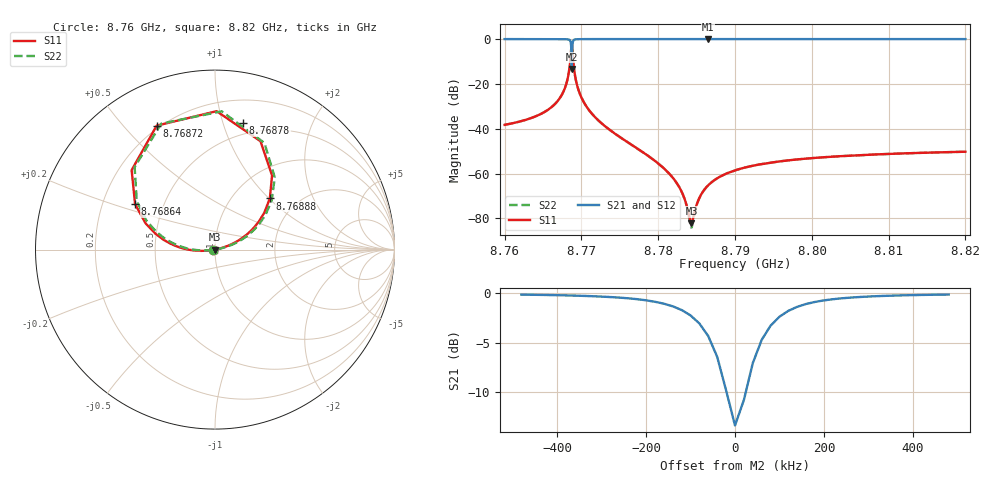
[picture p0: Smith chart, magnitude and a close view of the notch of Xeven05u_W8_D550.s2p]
! Sonnet Data File
! From: emgraph Version : 16.52
! From Project: Qubit_Xmon2_brg_para
! Data is De-embedded
! Data File Written: 11/12/2017 19:09:19
!< HDATE 11/12/2017 17:12:30
!< MDATE 11/12/2017 17:12:30
!< PARAMS
!< Lj = 11.0
!< Gap = 6.0
!< Pwid = 2000.0
!< Airgap = 6.0
!< Width = 10.0
!< Bwid = 8.0
!< Dis1 = 550.0
!< Dis2 = 556.0
!< END PARAMS
# GHZ S MA R 51.80000
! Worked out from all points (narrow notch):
!   3001 points, 8.76 GHz to 8.82 GHz, reference 51.8 ohm
!   highest |S21| = 0.00 dB at 8.78648 GHz (marker M1); lowest = -13.4 dB at 8.76874 GHz (marker M2)
!   notch at M2: 13.4 dB deep, 81.7 kHz wide at half that depth
!   lowest |S11| = -82.2 dB at 8.78432 GHz (marker M3), VSWR 1.00, Z = 51.8 + j0.00784 ohm
!   |S11| at or under -10 dB: start of sweep to 8.768541 GHz; 8.76894 GHz to end of sweep
!   |S22| runs from -84.1 to -2.1 dB; largest |S21 - S12| = 0
!   S11 on the Smith chart (normalised r, x): 8.76 GHz: 0.98, -0.00; 8.76864 GHz: 0.34, +0.24; 8.76872 GHz: 0.19, +0.62; 8.76878 GHz: 0.40, +1.17; 8.76888 GHz: 1.47, +1.01; 8.82 GHz: 0.99, -0.00
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8.76  0.01223 -170.2  0.9999 -80.9  0.9999 -80.9  0.01223 -171.7
!< P1 F=8.76 Eeff=(6.44679139 -2.9786e-5) Z0=(51.7991425 1.19067e-4) R=0.0 C=0.0
!< P2 F=8.76 Eeff=(6.44679139 -2.9786e-5) Z0=(51.7991425 1.19067e-4) R=0.0 C=0.0
8.76654  0.03548 -171.7  0.9991 -82.2  0.9991 -82.2  0.03548 -173.6
8.76788  0.08342 -175.2  0.9948 -85.0  0.9948 -85.0  0.08341 -177.2
8.76844  0.2219 174.6  0.9619 -93.0  0.9619 -93.0  0.2219 172.5
8.76864  0.5127 150.3  0.7727 -110.5  0.7727 -110.5  0.5126 148.2
8.76872  0.7632 115.2  0.3224 -116.3  0.3224 -116.3  0.7632 113.1
8.76874  0.7872 102.3  0.2142 -85.9  0.2142 -85.9  0.7871 100.2
8.76878  0.7217 77.4  0.4432 -39.9  0.4432 -39.9  0.7217 75.3
8.76888  0.4177 43.0  0.8542 -55.8  0.8542 -55.8  0.4176 40.9
8.76908  0.1924 25.1  0.9706 -69.2  0.9706 -69.2  0.1924 23.0
8.76938  0.1022 18.4  0.9917 -74.4  0.9917 -74.4  0.1022 16.3
8.77  0.04999 14.7  0.9979 -77.4  0.9979 -77.4  0.04998 12.4
8.77268  0.013 12.2  0.9998 -79.5  0.9998 -79.5  0.013 9.5
8.78  0.00169 13.6  1 -80.2  1 -80.2  0.001688 6.7
8.7826  0.0005502 18.9  1 -80.3  1 -80.3  0.0005479 2.2
8.78432  7.743e-05 102.2  1 -80.4  1 -80.4  6.247e-05 -83.4
8.78546  0.0003121 176.4  1 -80.4  1 -80.4  0.0003091 -159.7
8.78648  0.0005439 -177.4  1 -80.4  1 -80.4  0.0005424 -164.8
8.79  0.001182 -173.1  1 -80.5  1 -80.5  0.001181 -168.4
8.8  0.002216 -171.5  1 -80.7  1 -80.7  0.002216 -170.0
8.81  0.00275 -171.2  1 -80.8  1 -80.8  0.00275 -170.4
8.82  0.003078 -171.2  1 -80.9  1 -80.9  0.003078 -170.7
